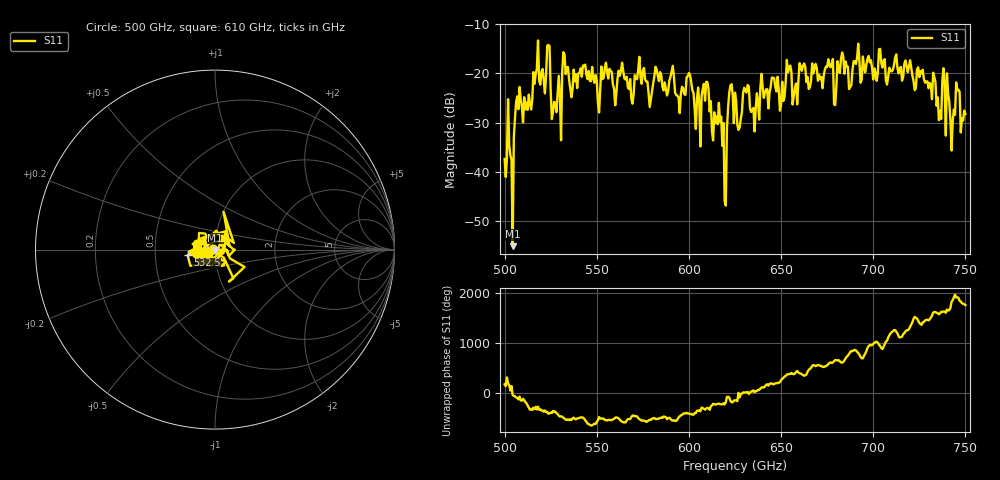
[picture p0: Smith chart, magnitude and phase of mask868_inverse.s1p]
!Created with skrf (http://scikit-rf.org).
# GHz S MA R 50.0
!freq magS11 angS11
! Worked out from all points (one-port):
!   401 points, 500 GHz to 750 GHz, reference 50 ohm
!   lowest |S11| = -55.2 dB at 504.4 GHz (marker M1), VSWR 1.00, Z = 50.1 - j0.135 ohm
!   |S11| at or under -10 dB: start of sweep to end of sweep
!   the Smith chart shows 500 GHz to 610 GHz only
!   S11 on the Smith chart (normalised r, x): 500 GHz: 0.97, +0.01; 532.5 GHz: 0.73, -0.05; 610 GHz: 1.10, +0.14
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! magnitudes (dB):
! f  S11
! 500 GHz  -37.4
! 504.4 GHz  -55.2
! 506.9 GHz  -24.7
! 513.8 GHz  -26.1
! 516.9 GHz  -20.0
! 523.8 GHz  -14.2
! 526.9 GHz  -25.8
! 531.2 GHz  -19.7
! 532.5 GHz  -16.2
! 550.6 GHz  -25.9
! 562.5 GHz  -20.5
! 579.4 GHz  -25.2
! 590.6 GHz  -19.6
! 593.8 GHz  -24.5
! 600 GHz  -19.9
! 605 GHz  -22.9
! 610 GHz  -21.8
! 617.5 GHz  -28.8
! 619.4 GHz  -46.0
! 622.5 GHz  -22.5
! 625 GHz  -23.9
! 656.2 GHz  -26.3
! 680 GHz  -22.6
! 683.8 GHz  -16.6
! 687.5 GHz  -22.8
! 690.6 GHz  -18.1
! 718.8 GHz  -19.7
! 750 GHz  -28.3
